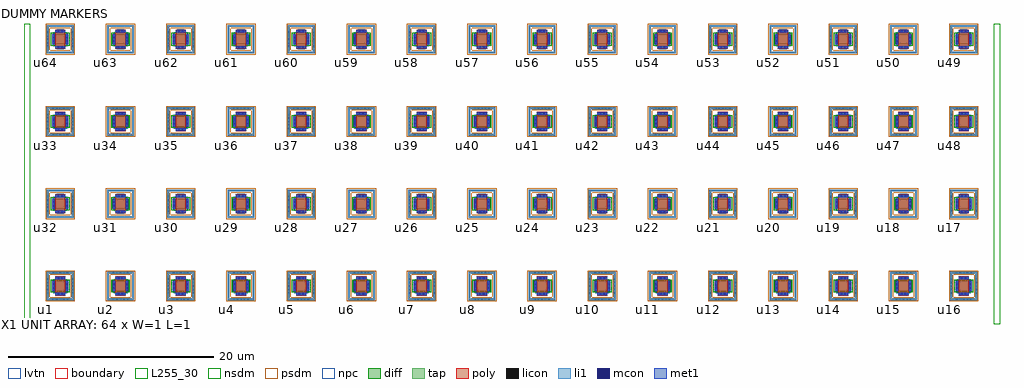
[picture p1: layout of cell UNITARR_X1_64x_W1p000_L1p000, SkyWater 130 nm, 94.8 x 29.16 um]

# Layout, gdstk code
import gdstk
lib = gdstk.Library(unit=1e-6, precision=1e-09)
def R(c, l, rs):  # rectangles x0, y0, x1, y1
    for r in rs: c.add(gdstk.rectangle(r[:2], r[2:], *l))
diff = (65, 20)
tap = (65, 44)
poly = (66, 20)
licon = (66, 44)
li1 = (67, 20)
mcon = (67, 44)
met1 = (68, 20)
nsdm = (93, 44)
psdm = (94, 20)
npc = (95, 20)
lvtn = (125, 44)
boundary = (235, 4)
L255_30 = (255, 30)

sky130_fd_pr__nfet_01v8_ = lib.new_cell('sky130_fd_pr__nfet_01v8_lvt_SRSYDN')
R(sky130_fd_pr__nfet_01v8_, diff, [(-0.79,-0.5,0.79,0.5), (-0.79,-0.5,0.79,0.5), (-0.79,-0.5,0.79,0.5), (-0.79,-0.5,0.79,0.5)])
R(sky130_fd_pr__nfet_01v8_, tap, [(-1.3,-1.37,1.3,-1.2), (-1.3,-1.37,1.3,-1.2), (-1.3,-1.37,1.3,-1.2), (-1.3,-1.37,1.3,-1.2), (-1.3,-1.2,-1.13,1.2), (-1.3,-1.2,-1.13,1.2), (-1.3,-1.2,-1.13,1.2), (-1.3,-1.2,-1.13,1.2), (1.13,-1.2,1.3,1.2), (1.13,-1.2,1.3,1.2), (1.13,-1.2,1.3,1.2), (1.13,-1.2,1.3,1.2), (-1.3,1.2,1.3,1.37), (-1.3,1.2,1.3,1.37), (-1.3,1.2,1.3,1.37), (-1.3,1.2,1.3,1.37)])
R(sky130_fd_pr__nfet_01v8_, poly, [(-0.5,-0.94,0.5,0.94), (-0.5,-0.94,0.5,0.94), (-0.5,-0.94,0.5,0.94), (-0.5,-0.94,0.5,0.94)])
R(sky130_fd_pr__nfet_01v8_, licon, [(-0.765,-1.37,-0.595,-1.2), (-0.765,-1.37,-0.595,-1.2), (-0.765,-1.37,-0.595,-1.2), (-0.765,-1.37,-0.595,-1.2), (-0.425,-1.37,-0.255,-1.2), (-0.425,-1.37,-0.255,-1.2), (-0.425,-1.37,-0.255,-1.2), (-0.425,-1.37,-0.255,-1.2), (-0.085,-1.37,0.085,-1.2), (-0.085,-1.37,0.085,-1.2), (-0.085,-1.37,0.085,-1.2), (-0.085,-1.37,0.085,-1.2), (0.255,-1.37,0.425,-1.2), (0.255,-1.37,0.425,-1.2), (0.255,-1.37,0.425,-1.2), (0.255,-1.37,0.425,-1.2), (0.595,-1.37,0.765,-1.2), (0.595,-1.37,0.765,-1.2), (0.595,-1.37,0.765,-1.2), (0.595,-1.37,0.765,-1.2), (-0.255,-0.86,-0.085,-0.69), (-0.255,-0.86,-0.085,-0.69), (-0.255,-0.86,-0.085,-0.69), (-0.255,-0.86,-0.085,-0.69), (0.085,-0.86,0.255,-0.69), (0.085,-0.86,0.255,-0.69), (0.085,-0.86,0.255,-0.69), (0.085,-0.86,0.255,-0.69), (-1.3,-0.765,-1.13,-0.595), (-1.3,-0.765,-1.13,-0.595), (-1.3,-0.765,-1.13,-0.595), (-1.3,-0.765,-1.13,-0.595), (1.13,-0.765,1.3,-0.595), (1.13,-0.765,1.3,-0.595), (1.13,-0.765,1.3,-0.595), (1.13,-0.765,1.3,-0.595), (-1.3,-0.425,-1.13,-0.255), (-1.3,-0.425,-1.13,-0.255), (-1.3,-0.425,-1.13,-0.255), (-1.3,-0.425,-1.13,-0.255), (-0.73,-0.425,-0.56,-0.255), (-0.73,-0.425,-0.56,-0.255), (-0.73,-0.425,-0.56,-0.255), (-0.73,-0.425,-0.56,-0.255), (0.56,-0.425,0.73,-0.255), (0.56,-0.425,0.73,-0.255), (0.56,-0.425,0.73,-0.255), (0.56,-0.425,0.73,-0.255), (1.13,-0.425,1.3,-0.255), (1.13,-0.425,1.3,-0.255), (1.13,-0.425,1.3,-0.255), (1.13,-0.425,1.3,-0.255), (-1.3,-0.085,-1.13,0.085), (-1.3,-0.085,-1.13,0.085), (-1.3,-0.085,-1.13,0.085), (-1.3,-0.085,-1.13,0.085), (-0.73,-0.085,-0.56,0.085), (-0.73,-0.085,-0.56,0.085), (-0.73,-0.085,-0.56,0.085), (-0.73,-0.085,-0.56,0.085), (0.56,-0.085,0.73,0.085), (0.56,-0.085,0.73,0.085), (0.56,-0.085,0.73,0.085), (0.56,-0.085,0.73,0.085), (1.13,-0.085,1.3,0.085), (1.13,-0.085,1.3,0.085), (1.13,-0.085,1.3,0.085), (1.13,-0.085,1.3,0.085), (-1.3,0.255,-1.13,0.425), (-1.3,0.255,-1.13,0.425), (-1.3,0.255,-1.13,0.425), (-1.3,0.255,-1.13,0.425), (-0.73,0.255,-0.56,0.425), (-0.73,0.255,-0.56,0.425), (-0.73,0.255,-0.56,0.425), (-0.73,0.255,-0.56,0.425), (0.56,0.255,0.73,0.425), (0.56,0.255,0.73,0.425), (0.56,0.255,0.73,0.425), (0.56,0.255,0.73,0.425), (1.13,0.255,1.3,0.425), (1.13,0.255,1.3,0.425), (1.13,0.255,1.3,0.425), (1.13,0.255,1.3,0.425), (-1.3,0.595,-1.13,0.765), (-1.3,0.595,-1.13,0.765), (-1.3,0.595,-1.13,0.765), (-1.3,0.595,-1.13,0.765), (1.13,0.595,1.3,0.765), (1.13,0.595,1.3,0.765), (1.13,0.595,1.3,0.765), (1.13,0.595,1.3,0.765), (-0.255,0.69,-0.085,0.86), (-0.255,0.69,-0.085,0.86), (-0.255,0.69,-0.085,0.86), (-0.255,0.69,-0.085,0.86), (0.085,0.69,0.255,0.86), (0.085,0.69,0.255,0.86), (0.085,0.69,0.255,0.86), (0.085,0.69,0.255,0.86), (-0.765,1.2,-0.595,1.37), (-0.765,1.2,-0.595,1.37), (-0.765,1.2,-0.595,1.37), (-0.765,1.2,-0.595,1.37), (-0.425,1.2,-0.255,1.37), (-0.425,1.2,-0.255,1.37), (-0.425,1.2,-0.255,1.37), (-0.425,1.2,-0.255,1.37), (-0.085,1.2,0.085,1.37), (-0.085,1.2,0.085,1.37), (-0.085,1.2,0.085,1.37), (-0.085,1.2,0.085,1.37), (0.255,1.2,0.425,1.37), (0.255,1.2,0.425,1.37), (0.255,1.2,0.425,1.37), (0.255,1.2,0.425,1.37), (0.595,1.2,0.765,1.37), (0.595,1.2,0.765,1.37), (0.595,1.2,0.765,1.37), (0.595,1.2,0.765,1.37)])
R(sky130_fd_pr__nfet_01v8_, li1, [(-1.3,-1.37,1.3,-1.2), (-1.3,-1.37,1.3,-1.2), (-1.3,-1.37,1.3,-1.2), (-1.3,-1.37,1.3,-1.2), (-1.3,-1.2,-1.13,1.2), (-1.3,-1.2,-1.13,1.2), (-1.3,-1.2,-1.13,1.2), (-1.3,-1.2,-1.13,1.2), (1.13,-1.2,1.3,1.2), (1.13,-1.2,1.3,1.2), (1.13,-1.2,1.3,1.2), (1.13,-1.2,1.3,1.2), (-0.5,-0.86,0.5,-0.69), (-0.5,-0.86,0.5,-0.69), (-0.5,-0.86,0.5,-0.69), (-0.5,-0.86,0.5,-0.69), (-0.73,-0.52,-0.56,0.52), (-0.73,-0.52,-0.56,0.52), (-0.73,-0.52,-0.56,0.52), (-0.73,-0.52,-0.56,0.52), (0.56,-0.52,0.73,0.52), (0.56,-0.52,0.73,0.52), (0.56,-0.52,0.73,0.52), (0.56,-0.52,0.73,0.52), (-0.5,0.69,0.5,0.86), (-0.5,0.69,0.5,0.86), (-0.5,0.69,0.5,0.86), (-0.5,0.69,0.5,0.86), (-1.3,1.2,1.3,1.37), (-1.3,1.2,1.3,1.37), (-1.3,1.2,1.3,1.37), (-1.3,1.2,1.3,1.37)])
R(sky130_fd_pr__nfet_01v8_, mcon, [(-0.265,-0.86,-0.095,-0.69), (-0.265,-0.86,-0.095,-0.69), (-0.265,-0.86,-0.095,-0.69), (-0.265,-0.86,-0.095,-0.69), (0.095,-0.86,0.265,-0.69), (0.095,-0.86,0.265,-0.69), (0.095,-0.86,0.265,-0.69), (0.095,-0.86,0.265,-0.69), (-0.73,-0.265,-0.56,-0.095), (-0.73,-0.265,-0.56,-0.095), (-0.73,-0.265,-0.56,-0.095), (-0.73,-0.265,-0.56,-0.095), (0.56,-0.265,0.73,-0.095), (0.56,-0.265,0.73,-0.095), (0.56,-0.265,0.73,-0.095), (0.56,-0.265,0.73,-0.095), (-0.73,0.095,-0.56,0.265), (-0.73,0.095,-0.56,0.265), (-0.73,0.095,-0.56,0.265), (-0.73,0.095,-0.56,0.265), (0.56,0.095,0.73,0.265), (0.56,0.095,0.73,0.265), (0.56,0.095,0.73,0.265), (0.56,0.095,0.73,0.265), (-0.265,0.69,-0.095,0.86), (-0.265,0.69,-0.095,0.86), (-0.265,0.69,-0.095,0.86), (-0.265,0.69,-0.095,0.86), (0.095,0.69,0.265,0.86), (0.095,0.69,0.265,0.86), (0.095,0.69,0.265,0.86), (0.095,0.69,0.265,0.86)])
R(sky130_fd_pr__nfet_01v8_, met1, [(-0.48,-0.89,0.48,-0.66), (-0.48,-0.89,0.48,-0.66), (-0.48,-0.89,0.48,-0.66), (-0.48,-0.89,0.48,-0.66), (-0.76,-0.5,-0.53,0.5), (-0.76,-0.5,-0.53,0.5), (-0.76,-0.5,-0.53,0.5), (-0.76,-0.5,-0.53,0.5), (0.53,-0.5,0.76,0.5), (0.53,-0.5,0.76,0.5), (0.53,-0.5,0.76,0.5), (0.53,-0.5,0.76,0.5), (-0.48,0.66,0.48,0.89), (-0.48,0.66,0.48,0.89), (-0.48,0.66,0.48,0.89), (-0.48,0.66,0.48,0.89)])
R(sky130_fd_pr__nfet_01v8_, nsdm, [(-0.915,-0.625,0.915,0.625), (-0.915,-0.625,0.915,0.625), (-0.915,-0.625,0.915,0.625), (-0.915,-0.625,0.915,0.625)])
R(sky130_fd_pr__nfet_01v8_, psdm, [(-1.425,-1.495,1.425,-1.075), (-1.425,-1.495,1.425,-1.075), (-1.425,-1.495,1.425,-1.075), (-1.425,-1.495,1.425,-1.075), (-1.425,-1.075,-1.005,1.075), (-1.425,-1.075,-1.005,1.075), (-1.425,-1.075,-1.005,1.075), (-1.425,-1.075,-1.005,1.075), (1.005,-1.075,1.425,1.075), (1.005,-1.075,1.425,1.075), (1.005,-1.075,1.425,1.075), (1.005,-1.075,1.425,1.075), (-1.425,1.075,1.425,1.495), (-1.425,1.075,1.425,1.495), (-1.425,1.075,1.425,1.495), (-1.425,1.075,1.425,1.495)])
R(sky130_fd_pr__nfet_01v8_, npc, [(-0.355,-0.96,0.355,-0.59), (-0.355,-0.96,0.355,-0.59), (-0.355,-0.96,0.355,-0.59), (-0.355,-0.96,0.355,-0.59), (-0.355,0.59,0.355,0.96), (-0.355,0.59,0.355,0.96), (-0.355,0.59,0.355,0.96), (-0.355,0.59,0.355,0.96)])
R(sky130_fd_pr__nfet_01v8_, lvtn, [(-0.68,-0.68,0.68,0.68), (-0.68,-0.68,0.68,0.68), (-0.68,-0.68,0.68,0.68), (-0.68,-0.68,0.68,0.68)])
R(sky130_fd_pr__nfet_01v8_, boundary, [(-1.215,-1.285,1.215,1.285), (-1.215,-1.285,1.215,1.285), (-1.215,-1.285,1.215,1.285), (-1.215,-1.285,1.215,1.285)])
sky130_fd_pr__nfet_01v8_.add(gdstk.Label('B', (0,-1.285), layer=67, texttype=5))
sky130_fd_pr__nfet_01v8_.add(gdstk.Label('D', (-0.645,0), layer=67, texttype=5))
sky130_fd_pr__nfet_01v8_.add(gdstk.Label('S', (0.645,0), layer=67, texttype=5))
sky130_fd_pr__nfet_01v8_.add(gdstk.Label('G', (0,0.775), layer=67, texttype=5))
sky130_fd_pr__nfet_01v8_.add(gdstk.Label('B', (0,-1.285), layer=67, texttype=5))
sky130_fd_pr__nfet_01v8_.add(gdstk.Label('D', (-0.645,0), layer=67, texttype=5))
sky130_fd_pr__nfet_01v8_.add(gdstk.Label('S', (0.645,0), layer=67, texttype=5))
sky130_fd_pr__nfet_01v8_.add(gdstk.Label('G', (0,0.775), layer=67, texttype=5))
sky130_fd_pr__nfet_01v8_.add(gdstk.Label('B', (0,-1.285), layer=67, texttype=5))
sky130_fd_pr__nfet_01v8_.add(gdstk.Label('D', (-0.645,0), layer=67, texttype=5))
sky130_fd_pr__nfet_01v8_.add(gdstk.Label('S', (0.645,0), layer=67, texttype=5))
sky130_fd_pr__nfet_01v8_.add(gdstk.Label('G', (0,0.775), layer=67, texttype=5))
sky130_fd_pr__nfet_01v8_.add(gdstk.Label('B', (0,-1.285), layer=67, texttype=5))
sky130_fd_pr__nfet_01v8_.add(gdstk.Label('D', (-0.645,0), layer=67, texttype=5))
sky130_fd_pr__nfet_01v8_.add(gdstk.Label('S', (0.645,0), layer=67, texttype=5))
sky130_fd_pr__nfet_01v8_.add(gdstk.Label('G', (0,0.775), layer=67, texttype=5))

magic_gr_x1_unit_sky130_ = lib.new_cell('MAGIC_GR_X1_UNIT_sky130_fd_pr__nfet_01v8_lvt')
magic_gr_x1_unit_sky130_.add(gdstk.Reference(sky130_fd_pr__nfet_01v8_, (1.215,1.285)))

unitarr_x1_64x_w1p000_l1 = lib.new_cell('UNITARR_X1_64x_W1p000_L1p000')
R(unitarr_x1_64x_w1p000_l1, L255_30, [(-2.1,-2.2,-1.5,26.96), (92.1,-2.2,92.7,26.96)])
unitarr_x1_64x_w1p000_l1.add(gdstk.Reference(magic_gr_x1_unit_sky130_, (0.21,0.21)))
unitarr_x1_64x_w1p000_l1.add(gdstk.Reference(magic_gr_x1_unit_sky130_, (6.06,0.21)))
unitarr_x1_64x_w1p000_l1.add(gdstk.Reference(magic_gr_x1_unit_sky130_, (11.91,0.21)))
unitarr_x1_64x_w1p000_l1.add(gdstk.Reference(magic_gr_x1_unit_sky130_, (17.76,0.21)))
unitarr_x1_64x_w1p000_l1.add(gdstk.Reference(magic_gr_x1_unit_sky130_, (23.61,0.21)))
unitarr_x1_64x_w1p000_l1.add(gdstk.Reference(magic_gr_x1_unit_sky130_, (29.46,0.21)))
unitarr_x1_64x_w1p000_l1.add(gdstk.Reference(magic_gr_x1_unit_sky130_, (35.31,0.21)))
unitarr_x1_64x_w1p000_l1.add(gdstk.Reference(magic_gr_x1_unit_sky130_, (41.16,0.21)))
unitarr_x1_64x_w1p000_l1.add(gdstk.Reference(magic_gr_x1_unit_sky130_, (47.01,0.21)))
unitarr_x1_64x_w1p000_l1.add(gdstk.Reference(magic_gr_x1_unit_sky130_, (52.86,0.21)))
unitarr_x1_64x_w1p000_l1.add(gdstk.Reference(magic_gr_x1_unit_sky130_, (58.71,0.21)))
unitarr_x1_64x_w1p000_l1.add(gdstk.Reference(magic_gr_x1_unit_sky130_, (64.56,0.21)))
unitarr_x1_64x_w1p000_l1.add(gdstk.Reference(magic_gr_x1_unit_sky130_, (70.41,0.21)))
unitarr_x1_64x_w1p000_l1.add(gdstk.Reference(magic_gr_x1_unit_sky130_, (76.26,0.21)))
unitarr_x1_64x_w1p000_l1.add(gdstk.Reference(magic_gr_x1_unit_sky130_, (82.11,0.21)))
unitarr_x1_64x_w1p000_l1.add(gdstk.Reference(magic_gr_x1_unit_sky130_, (87.96,0.21)))
unitarr_x1_64x_w1p000_l1.add(gdstk.Reference(magic_gr_x1_unit_sky130_, (87.96,8.2)))
unitarr_x1_64x_w1p000_l1.add(gdstk.Reference(magic_gr_x1_unit_sky130_, (82.11,8.2)))
unitarr_x1_64x_w1p000_l1.add(gdstk.Reference(magic_gr_x1_unit_sky130_, (76.26,8.2)))
unitarr_x1_64x_w1p000_l1.add(gdstk.Reference(magic_gr_x1_unit_sky130_, (70.41,8.2)))
unitarr_x1_64x_w1p000_l1.add(gdstk.Reference(magic_gr_x1_unit_sky130_, (64.56,8.2)))
unitarr_x1_64x_w1p000_l1.add(gdstk.Reference(magic_gr_x1_unit_sky130_, (58.71,8.2)))
unitarr_x1_64x_w1p000_l1.add(gdstk.Reference(magic_gr_x1_unit_sky130_, (52.86,8.2)))
unitarr_x1_64x_w1p000_l1.add(gdstk.Reference(magic_gr_x1_unit_sky130_, (47.01,8.2)))
unitarr_x1_64x_w1p000_l1.add(gdstk.Reference(magic_gr_x1_unit_sky130_, (41.16,8.2)))
unitarr_x1_64x_w1p000_l1.add(gdstk.Reference(magic_gr_x1_unit_sky130_, (35.31,8.2)))
unitarr_x1_64x_w1p000_l1.add(gdstk.Reference(magic_gr_x1_unit_sky130_, (29.46,8.2)))
unitarr_x1_64x_w1p000_l1.add(gdstk.Reference(magic_gr_x1_unit_sky130_, (23.61,8.2)))
unitarr_x1_64x_w1p000_l1.add(gdstk.Reference(magic_gr_x1_unit_sky130_, (17.76,8.2)))
unitarr_x1_64x_w1p000_l1.add(gdstk.Reference(magic_gr_x1_unit_sky130_, (11.91,8.2)))
unitarr_x1_64x_w1p000_l1.add(gdstk.Reference(magic_gr_x1_unit_sky130_, (6.06,8.2)))
unitarr_x1_64x_w1p000_l1.add(gdstk.Reference(magic_gr_x1_unit_sky130_, (0.21,8.2)))
unitarr_x1_64x_w1p000_l1.add(gdstk.Reference(magic_gr_x1_unit_sky130_, (0.21,16.19)))
unitarr_x1_64x_w1p000_l1.add(gdstk.Reference(magic_gr_x1_unit_sky130_, (6.06,16.19)))
unitarr_x1_64x_w1p000_l1.add(gdstk.Reference(magic_gr_x1_unit_sky130_, (11.91,16.19)))
unitarr_x1_64x_w1p000_l1.add(gdstk.Reference(magic_gr_x1_unit_sky130_, (17.76,16.19)))
unitarr_x1_64x_w1p000_l1.add(gdstk.Reference(magic_gr_x1_unit_sky130_, (23.61,16.19)))
unitarr_x1_64x_w1p000_l1.add(gdstk.Reference(magic_gr_x1_unit_sky130_, (29.46,16.19)))
unitarr_x1_64x_w1p000_l1.add(gdstk.Reference(magic_gr_x1_unit_sky130_, (35.31,16.19)))
unitarr_x1_64x_w1p000_l1.add(gdstk.Reference(magic_gr_x1_unit_sky130_, (41.16,16.19)))
unitarr_x1_64x_w1p000_l1.add(gdstk.Reference(magic_gr_x1_unit_sky130_, (47.01,16.19)))
unitarr_x1_64x_w1p000_l1.add(gdstk.Reference(magic_gr_x1_unit_sky130_, (52.86,16.19)))
unitarr_x1_64x_w1p000_l1.add(gdstk.Reference(magic_gr_x1_unit_sky130_, (58.71,16.19)))
unitarr_x1_64x_w1p000_l1.add(gdstk.Reference(magic_gr_x1_unit_sky130_, (64.56,16.19)))
unitarr_x1_64x_w1p000_l1.add(gdstk.Reference(magic_gr_x1_unit_sky130_, (70.41,16.19)))
unitarr_x1_64x_w1p000_l1.add(gdstk.Reference(magic_gr_x1_unit_sky130_, (76.26,16.19)))
unitarr_x1_64x_w1p000_l1.add(gdstk.Reference(magic_gr_x1_unit_sky130_, (82.11,16.19)))
unitarr_x1_64x_w1p000_l1.add(gdstk.Reference(magic_gr_x1_unit_sky130_, (87.96,16.19)))
unitarr_x1_64x_w1p000_l1.add(gdstk.Reference(magic_gr_x1_unit_sky130_, (87.96,24.18)))
unitarr_x1_64x_w1p000_l1.add(gdstk.Reference(magic_gr_x1_unit_sky130_, (82.11,24.18)))
unitarr_x1_64x_w1p000_l1.add(gdstk.Reference(magic_gr_x1_unit_sky130_, (76.26,24.18)))
unitarr_x1_64x_w1p000_l1.add(gdstk.Reference(magic_gr_x1_unit_sky130_, (70.41,24.18)))
unitarr_x1_64x_w1p000_l1.add(gdstk.Reference(magic_gr_x1_unit_sky130_, (64.56,24.18)))
unitarr_x1_64x_w1p000_l1.add(gdstk.Reference(magic_gr_x1_unit_sky130_, (58.71,24.18)))
unitarr_x1_64x_w1p000_l1.add(gdstk.Reference(magic_gr_x1_unit_sky130_, (52.86,24.18)))
unitarr_x1_64x_w1p000_l1.add(gdstk.Reference(magic_gr_x1_unit_sky130_, (47.01,24.18)))
unitarr_x1_64x_w1p000_l1.add(gdstk.Reference(magic_gr_x1_unit_sky130_, (41.16,24.18)))
unitarr_x1_64x_w1p000_l1.add(gdstk.Reference(magic_gr_x1_unit_sky130_, (35.31,24.18)))
unitarr_x1_64x_w1p000_l1.add(gdstk.Reference(magic_gr_x1_unit_sky130_, (29.46,24.18)))
unitarr_x1_64x_w1p000_l1.add(gdstk.Reference(magic_gr_x1_unit_sky130_, (23.61,24.18)))
unitarr_x1_64x_w1p000_l1.add(gdstk.Reference(magic_gr_x1_unit_sky130_, (17.76,24.18)))
unitarr_x1_64x_w1p000_l1.add(gdstk.Reference(magic_gr_x1_unit_sky130_, (11.91,24.18)))
unitarr_x1_64x_w1p000_l1.add(gdstk.Reference(magic_gr_x1_unit_sky130_, (6.06,24.18)))
unitarr_x1_64x_w1p000_l1.add(gdstk.Reference(magic_gr_x1_unit_sky130_, (0.21,24.18)))
unitarr_x1_64x_w1p000_l1.add(gdstk.Label('u1', (0,-0.8), layer=255, texttype=31))
unitarr_x1_64x_w1p000_l1.add(gdstk.Label('u2', (5.85,-0.8), layer=255, texttype=31))
unitarr_x1_64x_w1p000_l1.add(gdstk.Label('u3', (11.7,-0.8), layer=255, texttype=31))
unitarr_x1_64x_w1p000_l1.add(gdstk.Label('u4', (17.55,-0.8), layer=255, texttype=31))
unitarr_x1_64x_w1p000_l1.add(gdstk.Label('u5', (23.4,-0.8), layer=255, texttype=31))
unitarr_x1_64x_w1p000_l1.add(gdstk.Label('u6', (29.25,-0.8), layer=255, texttype=31))
unitarr_x1_64x_w1p000_l1.add(gdstk.Label('u7', (35.1,-0.8), layer=255, texttype=31))
unitarr_x1_64x_w1p000_l1.add(gdstk.Label('u8', (40.95,-0.8), layer=255, texttype=31))
unitarr_x1_64x_w1p000_l1.add(gdstk.Label('u9', (46.8,-0.8), layer=255, texttype=31))
unitarr_x1_64x_w1p000_l1.add(gdstk.Label('u10', (52.65,-0.8), layer=255, texttype=31))
unitarr_x1_64x_w1p000_l1.add(gdstk.Label('u11', (58.5,-0.8), layer=255, texttype=31))
unitarr_x1_64x_w1p000_l1.add(gdstk.Label('u12', (64.35,-0.8), layer=255, texttype=31))
unitarr_x1_64x_w1p000_l1.add(gdstk.Label('u13', (70.2,-0.8), layer=255, texttype=31))
unitarr_x1_64x_w1p000_l1.add(gdstk.Label('u14', (76.05,-0.8), layer=255, texttype=31))
unitarr_x1_64x_w1p000_l1.add(gdstk.Label('u15', (81.9,-0.8), layer=255, texttype=31))
unitarr_x1_64x_w1p000_l1.add(gdstk.Label('u16', (87.75,-0.8), layer=255, texttype=31))
unitarr_x1_64x_w1p000_l1.add(gdstk.Label('u17', (87.75,7.19), layer=255, texttype=31))
unitarr_x1_64x_w1p000_l1.add(gdstk.Label('u18', (81.9,7.19), layer=255, texttype=31))
unitarr_x1_64x_w1p000_l1.add(gdstk.Label('u19', (76.05,7.19), layer=255, texttype=31))
unitarr_x1_64x_w1p000_l1.add(gdstk.Label('u20', (70.2,7.19), layer=255, texttype=31))
unitarr_x1_64x_w1p000_l1.add(gdstk.Label('u21', (64.35,7.19), layer=255, texttype=31))
unitarr_x1_64x_w1p000_l1.add(gdstk.Label('u22', (58.5,7.19), layer=255, texttype=31))
unitarr_x1_64x_w1p000_l1.add(gdstk.Label('u23', (52.65,7.19), layer=255, texttype=31))
unitarr_x1_64x_w1p000_l1.add(gdstk.Label('u24', (46.8,7.19), layer=255, texttype=31))
unitarr_x1_64x_w1p000_l1.add(gdstk.Label('u25', (40.95,7.19), layer=255, texttype=31))
unitarr_x1_64x_w1p000_l1.add(gdstk.Label('u26', (35.1,7.19), layer=255, texttype=31))
unitarr_x1_64x_w1p000_l1.add(gdstk.Label('u27', (29.25,7.19), layer=255, texttype=31))
unitarr_x1_64x_w1p000_l1.add(gdstk.Label('u28', (23.4,7.19), layer=255, texttype=31))
unitarr_x1_64x_w1p000_l1.add(gdstk.Label('u29', (17.55,7.19), layer=255, texttype=31))
unitarr_x1_64x_w1p000_l1.add(gdstk.Label('u30', (11.7,7.19), layer=255, texttype=31))
unitarr_x1_64x_w1p000_l1.add(gdstk.Label('u31', (5.85,7.19), layer=255, texttype=31))
unitarr_x1_64x_w1p000_l1.add(gdstk.Label('u32', (0,7.19), layer=255, texttype=31))
unitarr_x1_64x_w1p000_l1.add(gdstk.Label('u33', (0,15.18), layer=255, texttype=31))
unitarr_x1_64x_w1p000_l1.add(gdstk.Label('u34', (5.85,15.18), layer=255, texttype=31))
unitarr_x1_64x_w1p000_l1.add(gdstk.Label('u35', (11.7,15.18), layer=255, texttype=31))
unitarr_x1_64x_w1p000_l1.add(gdstk.Label('u36', (17.55,15.18), layer=255, texttype=31))
unitarr_x1_64x_w1p000_l1.add(gdstk.Label('u37', (23.4,15.18), layer=255, texttype=31))
unitarr_x1_64x_w1p000_l1.add(gdstk.Label('u38', (29.25,15.18), layer=255, texttype=31))
unitarr_x1_64x_w1p000_l1.add(gdstk.Label('u39', (35.1,15.18), layer=255, texttype=31))
unitarr_x1_64x_w1p000_l1.add(gdstk.Label('u40', (40.95,15.18), layer=255, texttype=31))
unitarr_x1_64x_w1p000_l1.add(gdstk.Label('u41', (46.8,15.18), layer=255, texttype=31))
unitarr_x1_64x_w1p000_l1.add(gdstk.Label('u42', (52.65,15.18), layer=255, texttype=31))
unitarr_x1_64x_w1p000_l1.add(gdstk.Label('u43', (58.5,15.18), layer=255, texttype=31))
unitarr_x1_64x_w1p000_l1.add(gdstk.Label('u44', (64.35,15.18), layer=255, texttype=31))
unitarr_x1_64x_w1p000_l1.add(gdstk.Label('u45', (70.2,15.18), layer=255, texttype=31))
unitarr_x1_64x_w1p000_l1.add(gdstk.Label('u46', (76.05,15.18), layer=255, texttype=31))
unitarr_x1_64x_w1p000_l1.add(gdstk.Label('u47', (81.9,15.18), layer=255, texttype=31))
unitarr_x1_64x_w1p000_l1.add(gdstk.Label('u48', (87.75,15.18), layer=255, texttype=31))
unitarr_x1_64x_w1p000_l1.add(gdstk.Label('u49', (87.75,23.17), layer=255, texttype=31))
unitarr_x1_64x_w1p000_l1.add(gdstk.Label('u50', (81.9,23.17), layer=255, texttype=31))
unitarr_x1_64x_w1p000_l1.add(gdstk.Label('u51', (76.05,23.17), layer=255, texttype=31))
unitarr_x1_64x_w1p000_l1.add(gdstk.Label('u52', (70.2,23.17), layer=255, texttype=31))
unitarr_x1_64x_w1p000_l1.add(gdstk.Label('u53', (64.35,23.17), layer=255, texttype=31))
unitarr_x1_64x_w1p000_l1.add(gdstk.Label('u54', (58.5,23.17), layer=255, texttype=31))
unitarr_x1_64x_w1p000_l1.add(gdstk.Label('u55', (52.65,23.17), layer=255, texttype=31))
unitarr_x1_64x_w1p000_l1.add(gdstk.Label('u56', (46.8,23.17), layer=255, texttype=31))
unitarr_x1_64x_w1p000_l1.add(gdstk.Label('u57', (40.95,23.17), layer=255, texttype=31))
unitarr_x1_64x_w1p000_l1.add(gdstk.Label('u58', (35.1,23.17), layer=255, texttype=31))
unitarr_x1_64x_w1p000_l1.add(gdstk.Label('u59', (29.25,23.17), layer=255, texttype=31))
unitarr_x1_64x_w1p000_l1.add(gdstk.Label('u60', (23.4,23.17), layer=255, texttype=31))
unitarr_x1_64x_w1p000_l1.add(gdstk.Label('u61', (17.55,23.17), layer=255, texttype=31))
unitarr_x1_64x_w1p000_l1.add(gdstk.Label('u62', (11.7,23.17), layer=255, texttype=31))
unitarr_x1_64x_w1p000_l1.add(gdstk.Label('u63', (5.85,23.17), layer=255, texttype=31))
unitarr_x1_64x_w1p000_l1.add(gdstk.Label('u64', (0,23.17), layer=255, texttype=31))
unitarr_x1_64x_w1p000_l1.add(gdstk.Label('X1 UNIT ARRAY: 64 x W=1 L=1', (0,-2.2), layer=255, texttype=31))
unitarr_x1_64x_w1p000_l1.add(gdstk.Label('DUMMY MARKERS', (-2.5,27.96), layer=255, texttype=31))

lib.write_gds('UNITARR_X1_64x_W1p000_L1p000.gds')
